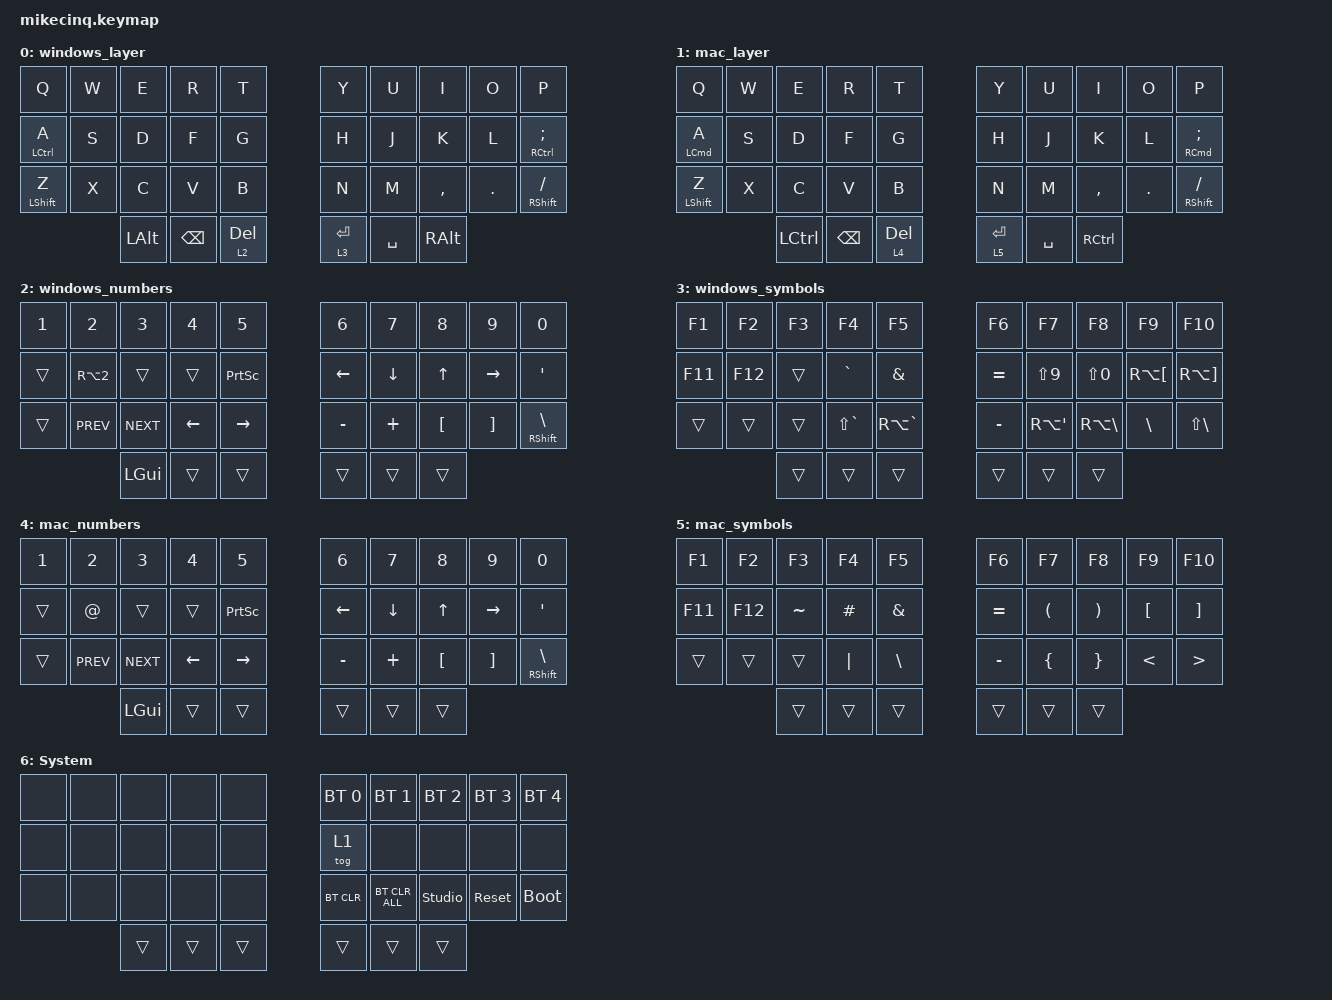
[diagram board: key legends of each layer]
#include <behaviors.dtsi>
#include <dt-bindings/zmk/bt.h>
#include <dt-bindings/zmk/keys.h>
#include <dt-bindings/zmk/rgb.h>

&led_strip { chain-length = <1>; };

/ {
    combos {
        compatible = "zmk,combos";

		combo_esc { 
            timeout-ms = <50>;
            key-positions = <1 2>;
            bindings = <&kp ESC>;
        };
		combo_tab { 
            timeout-ms = <50>;
            key-positions = <11 12>;
            bindings = <&kp TAB>;
        };
		combo_explorer { 
            timeout-ms = <50>;
            key-positions = <2 30>;
            bindings = <&kp LG(E)>;
        };

        System_Layer {
            bindings = <&mo 6>;
            key-positions = <32 30>;
            layers = <0 1>;
            timeout-ms = <50>;
        };
    };

    behaviors {
        as: as {
            compatible = "zmk,behavior-hold-tap";
            label = "AS";
            bindings = <&kp>, <&kp>;

            #binding-cells = <2>;
            tapping-term-ms = <200>;
            quick-tap-ms = <0>;
            flavor = "tap-preferred";
        };
		hm: homerow_mods {
			compatible = "zmk,behavior-hold-tap";
			label = "HOMEROW_MODS";
			#binding-cells = <2>;
			tapping-term-ms = <240>;
			quick_tap_ms = <0>;
			flavor = "tap-preferred";
			bindings = <&kp>, <&kp>;
		};
		hs: homerow_shifts {
			compatible = "zmk,behavior-hold-tap";
			label = "HOMEROW_SHIFTS";
			#binding-cells = <2>;
			tapping-term-ms = <150>;
			quick_tap_ms = <0>;
			flavor = "balanced";
			bindings = <&kp>, <&kp>;
		};
		td: tapdance {
			compatible = "zmk,behavior-hold-tap";
			label = "TAPDANCE";
			#binding-cells = <2>;
			tapping-term-ms = <190>;
			quick_tap_ms = <0>;
			flavor = "tap-preferred";
			bindings = <&kp>, <&kp>;
		};
    };

    keymap {
        compatible = "zmk,keymap";

		windows_layer {
			bindings = <
				&kp Q 	   	 &kp W 		&kp E		&kp R		&kp T				&kp Y 		&kp U		&kp I		&kp O		&kp P
				&hm LCTRL A  &kp S 		&kp D		&kp F	 	&kp G		 		&kp H 		&kp J		&kp K		&kp L 		&hm RCTRL SEMI
				&hs LSHIFT Z &kp X		&kp C 		&kp V 		&kp B   			&kp N		&kp M  		&kp COMMA 	&kp PERIOD	&hs RSHIFT SLASH
										&kp LALT 	&kp BSPC	&lt 2 DEL			&lt 3 RET	&kp SPACE	&kp RALT 
			>;
		};
		
		mac_layer {
			bindings = <
				&kp Q 	   	 &kp W 		&kp E		&kp R		&kp T				&kp Y 		&kp U		&kp I		&kp O		&kp P
				&hm LCMD A  &kp S 		&kp D		&kp F	 	&kp G		 		&kp H 		&kp J		&kp K		&kp L 		&hm RCMD SEMI
				&hs LSHIFT Z &kp X		&kp C 		&kp V 		&kp B   			&kp N		&kp M  		&kp COMMA 	&kp PERIOD	&hs RSHIFT SLASH
										&kp LCTRL 	&kp BSPC	&lt 4 DEL			&lt 5 RET	&kp SPACE	&kp RCTRL 
			>;
		};
		
		windows_numbers {
			bindings = <
				&kp N1		&kp N2 		&kp N3		&kp N4		&kp N5				&kp N6 		&kp N7		&kp N8		&kp N9		&kp N0
				&trans		&kp RA(N2)	&trans		&trans		&kp PSCRN 			&kp LEFT	&kp DOWN	&kp UP		&kp RIGHT	&kp SQT
				&trans		&kp C_PREV	&kp C_NEXT	&kp LEFT	&kp RIGHT			&kp MINUS	&kp PLUS	&kp LBKT	&kp RBKT	&hs RSHIFT BSLH
										&kp LGUI	&trans		&trans				&trans		&trans		&trans
			>;
		};

		windows_symbols {
			bindings = <
				&kp F1		&kp F2 		&kp F3	   &kp F4		&kp F5				&kp F6 		&kp F7		&kp F8		&kp F9		&kp F10
				&kp F11		&kp F12		&trans	   &kp GRAVE	&kp AMPS			&kp EQUAL	&kp LS(N9) 	&kp LS(N0)	&kp RA(LBKT) &kp RA(RBKT)
				&trans		&trans	 	&trans	   &kp LS(GRAVE) &kp RA(GRAVE)		&kp MINUS   &kp RA(SQT) &kp RA(BSLH) &kp BSLH	&kp LS(BSLH)
										&trans	   &trans		&trans				&trans		&trans		&trans
			>;
		};
		

		mac_numbers {
			bindings = <
				&kp N1		&kp N2 		&kp N3		&kp N4		&kp N5				&kp N6 		&kp N7		&kp N8		&kp N9		&kp N0
				&trans		&kp AT		&trans		&trans		&kp PSCRN 			&kp LEFT	&kp DOWN	&kp UP		&kp RIGHT	&kp SQT
				&trans		&kp C_PREV	&kp C_NEXT	&kp LEFT	&kp RIGHT			&kp MINUS	&kp PLUS	&kp LBKT	&kp RBKT	&hs RSHIFT BSLH
										&kp LGUI	&trans		&trans				&trans		&trans		&trans
			>;
		};

		mac_symbols {
			bindings = <
				&kp F1		&kp F2 		&kp F3	  	&kp F4		&kp F5				&kp F6 		&kp F7		&kp F8		&kp F9		&kp F10
				&kp F11		&kp F12		&kp TILDE	&kp HASH	&kp AMPS			&kp EQUAL	&kp LPAR	&kp RPAR	&kp LBKT 	&kp RBKT
				&trans		&trans	 	&trans	   	&kp PIPE	&kp BACKSLASH		&kp MINUS   &kp LBRC 	&kp RBRC 	&kp LT		&kp GT
										&trans	   	&trans		&trans				&trans		&trans		&trans
			>;
		};

        System {
            bindings = <
				&none 		&none 		&none 		&none		&none   			&bt BT_SEL 0  	&bt BT_SEL 1    &bt BT_SEL 2    &bt BT_SEL 3  &bt BT_SEL 4
				&none 		&none 		&none 		&none   	&none      			&tog 1     		&none           &none           &none         &none
				&none		&none 		&none 		&none  		&none   			&bt BT_CLR    	&bt BT_CLR_ALL  &studio_unlock  &sys_reset    &bootloader
										&trans      &trans 		&trans              &trans        	&trans          &trans
            >;
        };
    };
};
